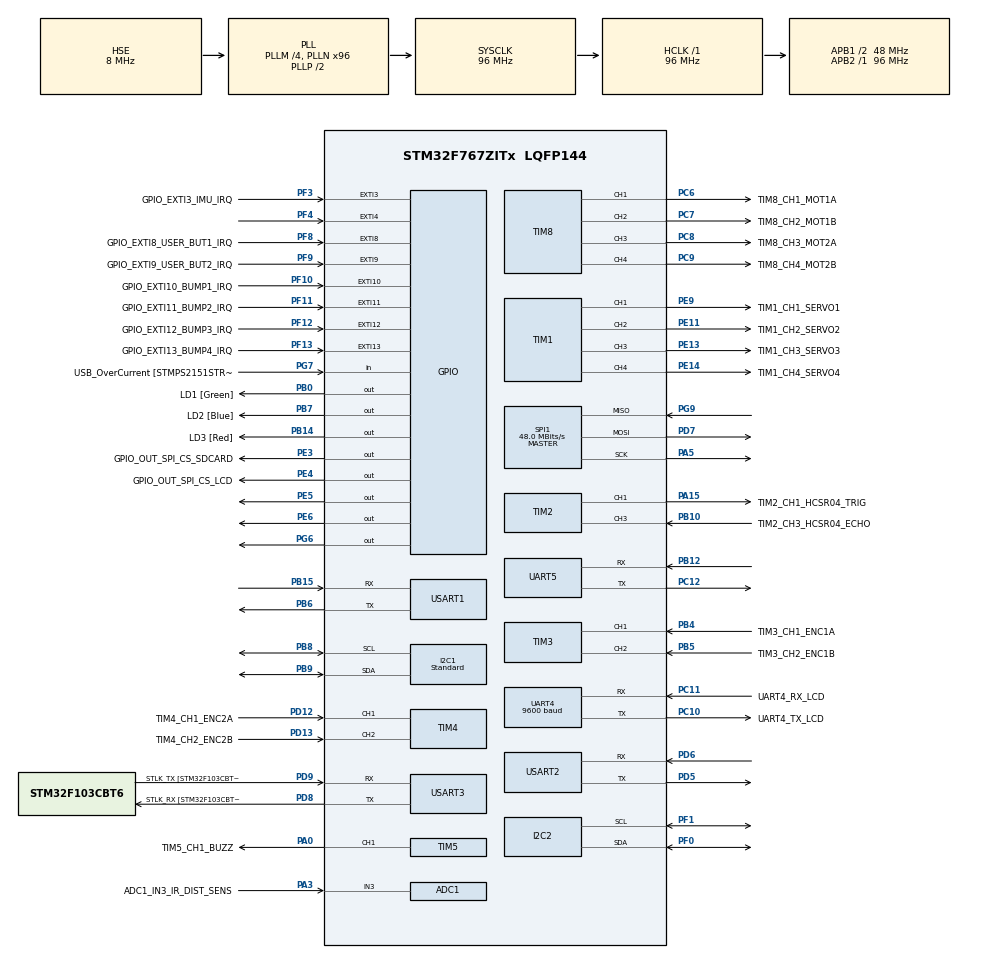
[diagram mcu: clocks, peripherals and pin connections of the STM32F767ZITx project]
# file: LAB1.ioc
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ADC1.Channel-1\#ChannelRegularConversion=ADC_CHANNEL_3
ADC1.NbrOfConversionFlag=1
ADC1.Rank-1\#ChannelRegularConversion=1
ADC1.SamplingTime-1\#ChannelRegularConversion=ADC_SAMPLETIME_3CYCLES
ADC1.master=1
I2C1.I2C_Speed_Mode=I2C_Standard
I2C1.Timing=0x20303E5D
I2C2.Timing=0x20303E5D
Mcu.Family=STM32F7
Mcu.Name=STM32F767ZITx
Mcu.Package=LQFP144
Mcu.UserConstants=TIM1_ARR_VALUE,200;TIM8_ARR_VALUE,400;TIM8_PSC_VALUE,959;TIM1_PSC_VALUE,959;PSC_ex4,17000;Counter_ex4,9
NVIC.EXTI15_10_IRQn=true\:0\:0\:false\:false\:true\:true\:true\:true
NVIC.EXTI4_IRQn=true\:1\:0\:true\:false\:true\:true\:true\:true
NVIC.EXTI9_5_IRQn=true\:0\:0\:false\:false\:true\:true\:true\:true
NVIC.PriorityGroup=NVIC_PRIORITYGROUP_4
NVIC.TIM6_DAC_IRQn=true\:0\:0\:false\:false\:true\:true\:true\:true
NVIC.TIM7_IRQn=true\:0\:0\:false\:false\:true\:true\:true\:true
PA0/WKUP.GPIO_Label=TIM5_CH1_BUZZ
PA0/WKUP.Signal=S_TIM5_CH1
PA1.GPIO_Label=RMII_REF_CLK [LAN8742A-CZ-TR_REFCLK0]
PA1.Signal=ETH_REF_CLK
PA10.GPIO_Label=USB_ID
PA10.Signal=USB_OTG_FS_ID
PA11.GPIO_Label=USB_DM
PA11.Signal=USB_OTG_FS_DM
PA12.GPIO_Label=USB_DP
PA12.Signal=USB_OTG_FS_DP
PA13.GPIO_Label=TMS
PA13.Mode=Serial_Wire
PA13.Signal=SYS_JTMS-SWDIO
PA14.GPIO_Label=TCK
PA14.Mode=Serial_Wire
PA14.Signal=SYS_JTCK-SWCLK
PA15.GPIO_Label=TIM2_CH1_HCSR04_TRIG
PA15.Signal=S_TIM2_CH1_ETR
PA2.GPIO_Label=RMII_MDIO [LAN8742A-CZ-TR_MDIO]
PA2.Signal=ETH_MDIO
PA3.GPIO_Label=ADC1_IN3_IR_DIST_SENS
PA3.Signal=ADCx_IN3
PA5.Mode=Full_Duplex_Master
PA5.Signal=SPI1_SCK
PA7.GPIO_Label=RMII_CRS_DV [LAN8742A-CZ-TR_CRS_DV]
PA7.Signal=ETH_CRS_DV
PA8.GPIO_Label=USB_SOF [TP1]
PA8.Signal=USB_OTG_FS_SOF
PA9.GPIO_Label=USB_VBUS
PA9.Signal=USB_OTG_FS_VBUS
PB0.GPIO_Label=LD1 [Green]
PB0.Signal=GPIO_Output
PB10.GPIO_Label=TIM2_CH3_HCSR04_ECHO
PB10.Signal=S_TIM2_CH3
PB12.Mode=Asynchronous
PB12.Signal=UART5_RX
PB13.GPIO_Label=RMII_TXD1 [LAN8742A-CZ-TR_TXD1]
PB13.Signal=ETH_TXD1
PB14.GPIO_Label=LD3 [Red]
PB14.Signal=GPIO_Output
PB15.Mode=Asynchronous
PB15.Signal=USART1_RX
PB3.GPIO_Label=SWO
PB3.Signal=SYS_JTDO-SWO
PB4.GPIO_Label=TIM3_CH1_ENC1A
PB4.Signal=S_TIM3_CH1
PB5.GPIO_Label=TIM3_CH2_ENC1B
PB5.Signal=S_TIM3_CH2
PB6.Mode=Asynchronous
PB6.Signal=USART1_TX
PB7.GPIO_Label=LD2 [Blue]
PB7.Signal=GPIO_Output
PB8.GPIO_Pu=GPIO_PULLUP
PB8.Mode=I2C
PB8.Signal=I2C1_SCL
PB9.GPIO_Pu=GPIO_PULLUP
PB9.Mode=I2C
PB9.Signal=I2C1_SDA
PC1.GPIO_Label=RMII_MDC [LAN8742A-CZ-TR_MDC]
PC1.Signal=ETH_MDC
PC10.GPIO_Label=UART4_TX_LCD
PC10.Mode=Asynchronous
PC10.Signal=UART4_TX
PC11.GPIO_Label=UART4_RX_LCD
PC11.Mode=Asynchronous
PC11.Signal=UART4_RX
PC12.Mode=Asynchronous
PC12.Signal=UART5_TX
PC14/OSC32_IN.Mode=LSE-External-Oscillator
PC14/OSC32_IN.Signal=RCC_OSC32_IN
PC15/OSC32_OUT.Mode=LSE-External-Oscillator
PC15/OSC32_OUT.Signal=RCC_OSC32_OUT
PC4.GPIO_Label=RMII_RXD0 [LAN8742A-CZ-TR_RXD0]
PC4.Signal=ETH_RXD0
PC5.GPIO_Label=RMII_RXD1 [LAN8742A-CZ-TR_RXD1]
PC5.Signal=ETH_RXD1
PC6.GPIO_Label=TIM8_CH1_MOT1A
PC6.Signal=S_TIM8_CH1
PC7.GPIO_Label=TIM8_CH2_MOT1B
PC7.Signal=S_TIM8_CH2
PC8.GPIO_Label=TIM8_CH3_MOT2A
PC8.Signal=S_TIM8_CH3
PC9.GPIO_Label=TIM8_CH4_MOT2B
PC9.Signal=S_TIM8_CH4
PD12.GPIO_Label=TIM4_CH1_ENC2A
PD12.Signal=S_TIM4_CH1
PD13.GPIO_Label=TIM4_CH2_ENC2B
PD13.Signal=S_TIM4_CH2
PD5.Mode=Asynchronous
PD5.Signal=USART2_TX
PD6.Mode=Asynchronous
PD6.Signal=USART2_RX
PD7.Mode=Full_Duplex_Master
PD7.Signal=SPI1_MOSI
PD8.GPIO_Label=STLK_RX [STM32F103CBT6_PA3]
PD8.Mode=Asynchronous
PD8.Signal=USART3_TX
PD9.GPIO_Label=STLK_TX [STM32F103CBT6_PA2]
PD9.Mode=Asynchronous
PD9.Signal=USART3_RX
PE11.GPIO_Label=TIM1_CH2_SERVO2
PE11.Signal=S_TIM1_CH2
PE13.GPIO_Label=TIM1_CH3_SERVO3
PE13.Signal=S_TIM1_CH3
PE14.GPIO_Label=TIM1_CH4_SERVO4
PE14.Signal=S_TIM1_CH4
PE3.GPIO_Label=GPIO_OUT_SPI_CS_SDCARD
PE3.Signal=GPIO_Output
PE4.GPIO_Label=GPIO_OUT_SPI_CS_LCD
PE4.Signal=GPIO_Output
PE5.Signal=GPIO_Output
PE6.Signal=GPIO_Output
PE9.GPIO_Label=TIM1_CH1_SERVO1
PE9.Signal=S_TIM1_CH1
PF0.GPIO_Pu=GPIO_PULLUP
PF0.Mode=I2C
PF0.Signal=I2C2_SDA
PF1.GPIO_Pu=GPIO_PULLUP
PF1.Mode=I2C
PF1.Signal=I2C2_SCL
PF10.GPIO_Label=GPIO_EXTI10_BUMP1_IRQ
PF10.Signal=GPXTI10
PF11.GPIO_Label=GPIO_EXTI11_BUMP2_IRQ
PF11.Signal=GPXTI11
PF12.GPIO_Label=GPIO_EXTI12_BUMP3_IRQ
PF12.Signal=GPXTI12
PF13.GPIO_Label=GPIO_EXTI13_BUMP4_IRQ
PF13.Signal=GPXTI13
PF3.GPIO_Label=GPIO_EXTI3_IMU_IRQ
PF3.Signal=GPXTI3
PF4.GPIO_ModeDefaultEXTI=GPIO_MODE_IT_FALLING
PF4.GPIO_PuPd=GPIO_NOPULL
PF4.Signal=GPXTI4
PF8.GPIO_Label=GPIO_EXTI8_USER_BUT1_IRQ
PF8.Signal=GPXTI8
PF9.GPIO_Label=GPIO_EXTI9_USER_BUT2_IRQ
PF9.Signal=GPXTI9
PG11.GPIO_Label=RMII_TX_EN [LAN8742A-CZ-TR_TXEN]
PG11.Signal=ETH_TX_EN
PG13.GPIO_Label=RMII_TXD0 [LAN8742A-CZ-TR_TXD0]
PG13.Signal=ETH_TXD0
PG6.Signal=GPIO_Output
PG7.GPIO_Label=USB_OverCurrent [STMPS2151STR_FAULT]
PG7.Signal=GPIO_Input
PG9.Mode=Full_Duplex_Master
PG9.Signal=SPI1_MISO
PH0/OSC_IN.GPIO_Label=MCO [STM32F103CBT6_PA8]
PH0/OSC_IN.Mode=HSE-External-Clock-Source
PH0/OSC_IN.Signal=RCC_OSC_IN
PH1/OSC_OUT.Mode=HSE-External-Clock-Source
PH1/OSC_OUT.Signal=RCC_OSC_OUT
ProjectManager.HeapSize=0x200
ProjectManager.StackSize=0x400
ProjectManager.TargetToolchain=STM32CubeIDE
RCC.48MHZClocksFreq_Value=24000000
RCC.AHBFreq_Value=96000000
RCC.APB1CLKDivider=RCC_HCLK_DIV2
RCC.APB1Freq_Value=48000000
RCC.APB1TimFreq_Value=96000000
RCC.APB2Freq_Value=96000000
RCC.APB2TimFreq_Value=96000000
RCC.CortexFreq_Value=96000000
RCC.HCLKFreq_Value=96000000
RCC.HSE_VALUE=8000000
RCC.HSI_VALUE=16000000
RCC.PLLM=4
RCC.PLLMUL=RCC_PLL_MUL9
RCC.PLLN=96
RCC.PLLQ=4
RCC.PLLSourceVirtual=RCC_PLLSOURCE_HSE
RCC.PRESCALERUSB=RCC_USBCLKSOURCE_PLL_DIV1_5
RCC.SYSCLKFreq_VALUE=96000000
RCC.SYSCLKSource=RCC_SYSCLKSOURCE_PLLCLK
RCC.SYSCLKSourceVirtual=RCC_SYSCLKSOURCE_PLLCLK
RCC.USBFreq_Value=48000000
RCC.VCOOutputFreq_Value=192000000
SH.ADCx_IN3.0=ADC1_IN3,IN3
SH.S_TIM1_CH1.0=TIM1_CH1,PWM Generation1 CH1
SH.S_TIM1_CH2.0=TIM1_CH2,PWM Generation2 CH2
SH.S_TIM1_CH3.0=TIM1_CH3,PWM Generation3 CH3
SH.S_TIM1_CH4.0=TIM1_CH4,PWM Generation4 CH4
SH.S_TIM2_CH1_ETR.0=TIM2_CH1,PWM Generation1 CH1
SH.S_TIM2_CH3.0=TIM2_CH3,Input_Capture3_from_TI3
SH.S_TIM3_CH1.0=TIM3_CH1,Encoder_Interface
SH.S_TIM3_CH2.0=TIM3_CH2,Encoder_Interface
SH.S_TIM4_CH1.0=TIM4_CH1,Encoder_Interface
SH.S_TIM4_CH2.0=TIM4_CH2,Encoder_Interface
SH.S_TIM5_CH1.0=TIM5_CH1,PWM Generation1 CH1
SH.S_TIM8_CH1.0=TIM8_CH1,PWM Generation1 CH1
SH.S_TIM8_CH2.0=TIM8_CH2,PWM Generation2 CH2
SH.S_TIM8_CH3.0=TIM8_CH3,PWM Generation3 CH3
SH.S_TIM8_CH4.0=TIM8_CH4,PWM Generation4 CH4
SPI1.CalculateBaudRate=48.0 MBits/s
SPI1.Direction=SPI_DIRECTION_2LINES
SPI1.Mode=SPI_MODE_MASTER
SPI1.VirtualType=VM_MASTER
TIM1.Channel-PWM\ Generation1\ CH1=TIM_CHANNEL_1
TIM1.Channel-PWM\ Generation2\ CH2=TIM_CHANNEL_2
TIM1.Channel-PWM\ Generation3\ CH3=TIM_CHANNEL_3
TIM1.Channel-PWM\ Generation4\ CH4=TIM_CHANNEL_4
TIM1.Period=TIM1_ARR_VALUE
TIM1.Prescaler=TIM1_PSC_VALUE
TIM2.Channel-Input_Capture3_from_TI3=TIM_CHANNEL_3
TIM2.Channel-PWM\ Generation1\ CH1=TIM_CHANNEL_1
TIM5.Channel-PWM\ Generation1\ CH1=TIM_CHANNEL_1
TIM6.AutoReloadPreload=TIM_AUTORELOAD_PRELOAD_ENABLE
TIM6.Period=999
TIM6.Prescaler=16999
TIM7.AutoReloadPreload=TIM_AUTORELOAD_PRELOAD_ENABLE
TIM7.Period=Counter_ex4
TIM7.Prescaler=PSC_ex4-1
TIM8.Channel-PWM\ Generation1\ CH1=TIM_CHANNEL_1
TIM8.Channel-PWM\ Generation2\ CH2=TIM_CHANNEL_2
TIM8.Channel-PWM\ Generation3\ CH3=TIM_CHANNEL_3
TIM8.Channel-PWM\ Generation4\ CH4=TIM_CHANNEL_4
TIM8.Period=TIM8_ARR_VALUE
TIM8.Prescaler=TIM8_PSC_VALUE
UART4.BaudRate=9600
USART1.VirtualMode-Asynchronous=VM_ASYNC
USART2.VirtualMode-Asynchronous=VM_ASYNC
USART3.VirtualMode-Asynchronous=VM_ASYNC
VP_TIM1_VS_ClockSourceINT.Mode=Internal
VP_TIM2_VS_ClockSourceINT.Mode=Internal
VP_TIM5_VS_ClockSourceINT.Mode=Internal
VP_TIM6_VS_ClockSourceINT.Mode=Enable_Timer
VP_TIM7_VS_ClockSourceINT.Mode=Enable_Timer
VP_TIM8_VS_ClockSourceINT.Mode=Internal
board=NUCLEO-F767ZI

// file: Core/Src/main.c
/* USER CODE BEGIN Header */
/**
 ******************************************************************************
 * @file           : main.c
 * @brief          : Main program body
 ******************************************************************************
 * @attention
 *
 * <h2><center>&copy; Copyright (c) 2021 STMicroelectronics.
 * All rights reserved.</center></h2>
 *
 * This software component is licensed by ST under BSD 3-Clause license,
 * the "License"; You may not use this file except in compliance with the
 * License. You may obtain a copy of the License at:
 *                        opensource.org/licenses/BSD-3-Clause
 *
 ******************************************************************************
 */
/* USER CODE END Header */
#include "main.h"

/* USER CODE BEGIN Includes */
#include <stdio.h>
#include <string.h>
#include "SX1509_Registers.h"
#include <math.h>

/* USER CODE END Includes */

/* USER CODE BEGIN PD */
#define HAL_TIMEOUT 100

#define I2C_TIMEOUT 200

#define SX1509_I2C_ADDR1 0x3E //	SX1509 Proxy Sensors I2C address
#define SX1509_I2C_ADDR2 0x3F //	SX1509 Keypad I2C address
/* USER CODE END PD */

ADC_HandleTypeDef hadc1;

I2C_HandleTypeDef hi2c1;
I2C_HandleTypeDef hi2c2;

SPI_HandleTypeDef hspi1;

TIM_HandleTypeDef htim1;
TIM_HandleTypeDef htim2;
TIM_HandleTypeDef htim3;
TIM_HandleTypeDef htim4;
TIM_HandleTypeDef htim5;
TIM_HandleTypeDef htim6;
TIM_HandleTypeDef htim7;
TIM_HandleTypeDef htim8;

UART_HandleTypeDef huart4;
UART_HandleTypeDef huart5;
UART_HandleTypeDef huart1;
UART_HandleTypeDef huart2;
UART_HandleTypeDef huart3;

/* USER CODE BEGIN PV */
const char keypadLayout[4][4] = {
    {'*', '0', '#', 'D'},
    {'7', '8', '9', 'C'},
    {'4', '5', '6', 'B'},
    {'1', '2', '3', 'A'}};
/* USER CODE END PV */

void SystemClock_Config(void);
static void MX_GPIO_Init(void);
static void MX_USART3_UART_Init(void);
static void MX_ADC1_Init(void);
static void MX_I2C1_Init(void);
static void MX_I2C2_Init(void);
static void MX_SPI1_Init(void);
static void MX_TIM1_Init(void);
static void MX_TIM2_Init(void);
static void MX_TIM3_Init(void);
static void MX_TIM4_Init(void);
static void MX_TIM5_Init(void);
static void MX_TIM8_Init(void);
static void MX_UART4_Init(void);
static void MX_UART5_Init(void);
static void MX_USART1_UART_Init(void);
static void MX_USART2_UART_Init(void);
static void MX_TIM6_Init(void);
static void MX_TIM7_Init(void);
/* USER CODE BEGIN PFP */
extern void initialise_monitor_handles(void);
/* USER CODE END PFP */

/* USER CODE BEGIN 0 */

uint8_t line_sensor;
void HAL_TIM_PeriodElapsedCallback(TIM_HandleTypeDef *htim)
{
	if(htim->Instance == TIM6)
	{
		HAL_StatusTypeDef status1;
		status1 = HAL_I2C_Mem_Read(&hi2c1, SX1509_I2C_ADDR1 << 1, REG_DATA_B, 1, &line_sensor, 1, I2C_TIMEOUT);
		if (status1 != 0 ){
			printf("I2C communication error (%X).\n", status1);}
		//commented to acquire data keypad (to work with both change interupt's priority)
		/*printf("line_sensor_read: ");
		for (int i=0; i<8 ; i++){
			if (line_sensor & 1)
				//printf("1");
			else
				//printf("0");
			line_sensor >>=1;
		}
		//printf("\n");

		 */
	}

	if(htim->Instance == TIM7)//when timer 7 call the interrupt
		{
			HAL_GPIO_TogglePin(GPIOE, GPIO_PIN_5);//toggle the led
		}
}

char keyinput[5];
int i=0;
uint8_t regCol, regRow;

unsigned int f_led=1; //frequency of the led actually running
unsigned int f_user=1;//frequency set by the user (keypad input)
uint16_t Counter_led;//counter value of the timer 7 "collegato" led
unsigned int f_clock=96e6;// frequency of the micro-controller

int f_led_min=1;//frequency min of the led
int f_led_max=1000;//frequency max of the led

//function from char vector to int var
int ve_char2var_int(char vector[])
{
	int variable=0; //output

    sscanf(vector, "%d", &variable);

	return variable;
}

//function timer modification -------------------------------------------
void f_timer7_edit()
{
	if(f_led!=f_user)//check if f_led is changed (ponder to swap position)
	{
		if(f_user>f_led_max) //if i would set a freq grater the f max i will set the f max
		{
			f_user=f_led_max;
		}

		if(f_user<f_led_min) //if i would set a freq grater the f min i will set the f min
		{
			f_user=f_led_min;
		}

		Counter_led = (int) ((((double)f_clock/PSC_ex4)/f_user)-1);

		__HAL_TIM_SET_AUTORELOAD(&htim7,Counter_led);//set new counter

		double actual_freq = ((double) f_clock)/((PSC_ex4)*(Counter_led+1));  //Metric for evaluation of the goodness (problem: it don't evaluate it)
																			  //of the code.
		printf("Desired blinking freq: %d\n", f_user);
		printf("Actual  blinking freq: %g\n", actual_freq);

		f_led=f_user;// set current f to desired f
	}
}

void HAL_GPIO_EXTI_Callback(uint16_t GPIO_Pin)
{
  printf("Interrupt on pin (%d).\n", GPIO_Pin);

  /* your code here */
  if (GPIO_Pin==16){
	 HAL_StatusTypeDef status1, status2;
	 status1 = HAL_I2C_Mem_Read(&hi2c1, SX1509_I2C_ADDR2 << 1, REG_KEY_DATA_1, 1, &regCol, 1, I2C_TIMEOUT);
	 status2 = HAL_I2C_Mem_Read(&hi2c1, SX1509_I2C_ADDR2 << 1, REG_KEY_DATA_2, 1, &regRow, 1, I2C_TIMEOUT);
	 //printf("I2C communication error (%X).\n", status2);
	 //printf("I2C communication error (%X).\n", status1);

	 switch (regRow){
		 case 254:
			 regRow=0;
			 break;
		 case 253:
			 regRow=1;
			 break;
		 case 251:
			 regRow=2;
			 break;
		 case 247:
			 regRow=3;
			 break;
		 default:
			 printf("error row \n");
			 break;
	 }

	 switch (regCol){
		 case 254:
			 regCol=0;
			 break;
		 case 253:
			 regCol=1;
			 break;
		 case 251:
			 regCol=2;
			 break;
		 case 247:
			 regCol=3;
			 break;
		 default:
			 printf("error column \n");
			 break;
	 }

	 printf("Row: %d \n", regRow);
	 printf("Column: %d \n", regCol);
	 printf("Keypad button: %c \n", keypadLayout[regRow][regCol]);

	 if(keypadLayout[regRow][regCol]!='#')//check if press # and if not mem the value
	 {
		 keyinput[i]= keypadLayout[regRow][regCol];
		 i=(i+1)%4; //Index update and check whether Index exceeds the bounds (i.e. i>=4);
	 }else
	 {
		 if (i!=0)
			 keyinput[i]='\0';
		 else
			 keyinput[4]='\0';
		 i=0;
		 f_user = ve_char2var_int(keyinput);
		 f_timer7_edit();
	 }

  }
}

/* USER CODE END 0 */

int main(void)
{

  /* USER CODE BEGIN 1 */
  uint8_t data;
  HAL_StatusTypeDef status;
  /* USER CODE END 1 */

  /* MCU Configuration--------------------------------------------------------*/

  /* Reset of all peripherals, Initializes the Flash interface and the Systick. */
  HAL_Init();

  /* Configure the system clock */
  SystemClock_Config();

  /* USER CODE BEGIN SysInit */
  initialise_monitor_handles();
  /* USER CODE END SysInit */

  /* Initialize all configured peripherals */
  MX_GPIO_Init();
  MX_USART3_UART_Init();
  MX_ADC1_Init();
  MX_I2C1_Init();
  MX_I2C2_Init();
  MX_SPI1_Init();
  MX_TIM1_Init();
  MX_TIM2_Init();
  MX_TIM3_Init();
  MX_TIM4_Init();
  MX_TIM5_Init();
  MX_TIM8_Init();
  MX_UART4_Init();
  MX_UART5_Init();
  MX_USART1_UART_Init();
  MX_USART2_UART_Init();
  MX_TIM6_Init();
  MX_TIM7_Init();
  /* USER CODE BEGIN 2 */

  /* Disable LCD SPI SS */
  HAL_GPIO_WritePin(GPIO_OUT_SPI_CS_LCD_GPIO_Port, GPIO_OUT_SPI_CS_LCD_Pin, GPIO_PIN_SET);

  /* Disable EXTI4_IRQ during SX1509 initialization */
  HAL_NVIC_DisableIRQ(EXTI4_IRQn);

  /* Software reset */
  data = 0x12;
  status = HAL_I2C_Mem_Write(&hi2c1, SX1509_I2C_ADDR2 << 1, REG_RESET, 1, &data, 1, I2C_TIMEOUT);
  if (status != HAL_OK)
    printf("I2C communication error (%X).\n", status);

  data = 0x34;
  status = HAL_I2C_Mem_Write(&hi2c1, SX1509_I2C_ADDR2 << 1, REG_RESET, 1, &data, 1, I2C_TIMEOUT);
  if (status != HAL_OK)
    printf("I2C communication error (%X).\n", status);

  HAL_Delay(100);

  /* Set KeyPad scanning engine */

  /* Set RegClock to 0x40 (enable internal oscillator; 2MHz freq) */
  data = 0x40;
  status = HAL_I2C_Mem_Write(&hi2c1, SX1509_I2C_ADDR2 << 1, REG_CLOCK, 1, &data, 1, I2C_TIMEOUT);
  if (status != HAL_OK)
    printf("I2C communication error (%X).\n", status);

  /* Set Bank A RegDir to 0xF0 (IO[0:3] as out) */
  data = 0xF0;
  status = HAL_I2C_Mem_Write(&hi2c1, SX1509_I2C_ADDR2 << 1, REG_DIR_A, 1, &data, 1, I2C_TIMEOUT);
  if (status != HAL_OK)
    printf("I2C communication error (%X).\n", status);

  /* Set Bank B RegDir to 0x0F (IO[8:11] as in) */
  data = 0x0F;
  status = HAL_I2C_Mem_Write(&hi2c1, SX1509_I2C_ADDR2 << 1, REG_DIR_B, 1, &data, 1, I2C_TIMEOUT);
  if (status != HAL_OK)
    printf("I2C communication error (%X).\n", status);

  /* Set Bank A RegOpenDrain to 0x0F (IO[0:3] as open-drain outputs) */
  data = 0x0F;
  status = HAL_I2C_Mem_Write(&hi2c1, SX1509_I2C_ADDR2 << 1, REG_OPEN_DRAIN_A, 1, &data, 1, I2C_TIMEOUT);
  if (status != HAL_OK)
    printf("I2C communication error (%X).\n", status);

  /* Set Bank B RegPullup to 0x0F (pull-ups enabled on inputs IO[8:11]) */
  data = 0x0F;
  status = HAL_I2C_Mem_Write(&hi2c1, SX1509_I2C_ADDR2 << 1, REG_PULL_UP_B, 1, &data, 1, I2C_TIMEOUT);
  if (status != HAL_OK)
    printf("I2C communication error (%X).\n", status);

  /* Set Bank B RegDebounceEnable to 0x0F (enable debouncing on IO[8:11]) */
  data = 0x0F;
  status = HAL_I2C_Mem_Write(&hi2c1, SX1509_I2C_ADDR2 << 1, REG_DEBOUNCE_ENABLE_B, 1, &data, 1, I2C_TIMEOUT);
  if (status != HAL_OK)
    printf("I2C communication error (%X).\n", status);

  /* Set RegDebounceConfig to 0x05 (16ms debounce time) */
  data = 0x05;
  status = HAL_I2C_Mem_Write(&hi2c1, SX1509_I2C_ADDR2 << 1, REG_DEBOUNCE_CONFIG, 1, &data, 1, I2C_TIMEOUT);
  if (status != HAL_OK)
    printf("I2C communication error (%X).\n", status);

  /* Set RegKeyConfig1 to 0x7D (8s auto-sleep; 32ms scan time per row) */
  data = 0x7D;
  status = HAL_I2C_Mem_Write(&hi2c1, SX1509_I2C_ADDR2 << 1, REG_KEY_CONFIG_1, 1, &data, 1, I2C_TIMEOUT);
  if (status != HAL_OK)
    printf("I2C communication error (%X).\n", status);

  /* Set RegKeyConfig2 to 0x1B (4 rows; 4 columns) */
  data = 0x1B;
  status = HAL_I2C_Mem_Write(&hi2c1, SX1509_I2C_ADDR2 << 1, REG_KEY_CONFIG_2, 1, &data, 1, I2C_TIMEOUT);
  if (status != HAL_OK)
    printf("I2C communication error (%X).\n", status);

  /* Enable EXTI4_IRQ after SX1509 initialization */
  HAL_Delay(100);
  HAL_NVIC_EnableIRQ(EXTI4_IRQn);

  /* Disable EXTI2_IRQ during SX1509 initialization */
  HAL_NVIC_DisableIRQ(EXTI2_IRQn);

  /* Software reset */
  data = 0x12;
  status = HAL_I2C_Mem_Write(&hi2c1, SX1509_I2C_ADDR1 << 1, REG_RESET, 1, &data, 1, I2C_TIMEOUT);
  if (status != HAL_OK)
    printf("I2C communication error (%X).\n", status);

  data = 0x34;
  status = HAL_I2C_Mem_Write(&hi2c1, SX1509_I2C_ADDR1 << 1, REG_RESET, 1, &data, 1, I2C_TIMEOUT);
  if (status != HAL_OK)
    printf("I2C communication error (%X).\n", status);

  HAL_Delay(100);

  /* Set RegDirA to 0xFF (all IO of Bank A configured as inputs) */
  data = 0xFF; // 0 = out; 1 = in
  status = HAL_I2C_Mem_Write(&hi2c1, SX1509_I2C_ADDR1 << 1, REG_DIR_A, 1, &data, 1, I2C_TIMEOUT);
  if (status != HAL_OK)
    printf("I2C communication error (%X).\n", status);

  /* Set RegDirB to 0xFF (all IO of Bank B configured as inputs) */
  data = 0xFF; // 0 = out; 1 = in
  status = HAL_I2C_Mem_Write(&hi2c1, SX1509_I2C_ADDR1 << 1, REG_DIR_B, 1, &data, 1, I2C_TIMEOUT);
  if (status != HAL_OK)
    printf("I2C communication error (%X).\n", status);

  /* Set RegInterruptMaskA to 0x00 (all IO of Bank A will trigger an interrupt) */
  data = 0x00;
  status = HAL_I2C_Mem_Write(&hi2c1, SX1509_I2C_ADDR1 << 1, REG_INTERRUPT_MASK_A, 1, &data, 1, I2C_TIMEOUT);
  if (status != HAL_OK)
    printf("I2C communication error (%X).\n", status);

  /* Set RegSenseHighA to 0xAA (IO[7:4] of Bank A will trigger an interrupt on falling edge) */
  data = 0xAA;
  status = HAL_I2C_Mem_Write(&hi2c1, SX1509_I2C_ADDR1 << 1, REG_SENSE_HIGH_A, 1, &data, 1, I2C_TIMEOUT);
  if (status != HAL_OK)
    printf("I2C communication error (%X).\n", status);

  /* Set RegSenseLowA to 0xAA (IO[3:0] of Bank A will trigger an interrupt on falling edge) */
  data = 0xAA;
  status = HAL_I2C_Mem_Write(&hi2c1, SX1509_I2C_ADDR1 << 1, REG_SENSE_LOW_A, 1, &data, 1, I2C_TIMEOUT);
  if (status != HAL_OK)
    printf("I2C communication error (%X).\n", status);

  /* Enable EXTI2_IRQ after SX1509 initialization */
  HAL_Delay(100);
  HAL_NVIC_EnableIRQ(EXTI2_IRQn);

  //start timers ----------------------------------------------------------------------------------------
  HAL_TIM_Base_Start_IT(&htim7);
  HAL_TIM_Base_Start_IT(&htim6);

  printf("Ready\n");

  /* USER CODE END 2 */

  /* Infinite loop */
  while (1)
  {

  }
}

void SystemClock_Config(void)
{
  RCC_OscInitTypeDef RCC_OscInitStruct = {0};
  RCC_ClkInitTypeDef RCC_ClkInitStruct = {0};

  /** Configure LSE Drive Capability
  */
  HAL_PWR_EnableBkUpAccess();

  /** Configure the main internal regulator output voltage
  */
  __HAL_RCC_PWR_CLK_ENABLE();
  __HAL_PWR_VOLTAGESCALING_CONFIG(PWR_REGULATOR_VOLTAGE_SCALE3);

  /** Initializes the RCC Oscillators according to the specified parameters
  * in the RCC_OscInitTypeDef structure.
  */
  RCC_OscInitStruct.OscillatorType = RCC_OSCILLATORTYPE_HSE;
  RCC_OscInitStruct.HSEState = RCC_HSE_BYPASS;
  RCC_OscInitStruct.PLL.PLLState = RCC_PLL_ON;
  RCC_OscInitStruct.PLL.PLLSource = RCC_PLLSOURCE_HSE;
  RCC_OscInitStruct.PLL.PLLM = 4;
  RCC_OscInitStruct.PLL.PLLN = 96;
  RCC_OscInitStruct.PLL.PLLP = RCC_PLLP_DIV2;
  RCC_OscInitStruct.PLL.PLLQ = 4;
  RCC_OscInitStruct.PLL.PLLR = 2;
  if (HAL_RCC_OscConfig(&RCC_OscInitStruct) != HAL_OK)
  {
    Error_Handler();
  }

  /** Activate the Over-Drive mode
  */
  if (HAL_PWREx_EnableOverDrive() != HAL_OK)
  {
    Error_Handler();
  }

  /** Initializes the CPU, AHB and APB buses clocks
  */
  RCC_ClkInitStruct.ClockType = RCC_CLOCKTYPE_HCLK|RCC_CLOCKTYPE_SYSCLK
                              |RCC_CLOCKTYPE_PCLK1|RCC_CLOCKTYPE_PCLK2;
  RCC_ClkInitStruct.SYSCLKSource = RCC_SYSCLKSOURCE_PLLCLK;
  RCC_ClkInitStruct.AHBCLKDivider = RCC_SYSCLK_DIV1;
  RCC_ClkInitStruct.APB1CLKDivider = RCC_HCLK_DIV2;
  RCC_ClkInitStruct.APB2CLKDivider = RCC_HCLK_DIV1;

  if (HAL_RCC_ClockConfig(&RCC_ClkInitStruct, FLASH_LATENCY_3) != HAL_OK)
  {
    Error_Handler();
  }
}

static void MX_ADC1_Init(void)
{

  ADC_ChannelConfTypeDef sConfig = {0};

  /** Configure the global features of the ADC (Clock, Resolution, Data Alignment and number of conversion)
  */
  hadc1.Instance = ADC1;
  hadc1.Init.ClockPrescaler = ADC_CLOCK_SYNC_PCLK_DIV4;
  hadc1.Init.Resolution = ADC_RESOLUTION_12B;
  hadc1.Init.ScanConvMode = ADC_SCAN_DISABLE;
  hadc1.Init.ContinuousConvMode = DISABLE;
  hadc1.Init.DiscontinuousConvMode = DISABLE;
  hadc1.Init.ExternalTrigConvEdge = ADC_EXTERNALTRIGCONVEDGE_NONE;
  hadc1.Init.ExternalTrigConv = ADC_SOFTWARE_START;
  hadc1.Init.DataAlign = ADC_DATAALIGN_RIGHT;
  hadc1.Init.NbrOfConversion = 1;
  hadc1.Init.DMAContinuousRequests = DISABLE;
  hadc1.Init.EOCSelection = ADC_EOC_SINGLE_CONV;
  if (HAL_ADC_Init(&hadc1) != HAL_OK)
  {
    Error_Handler();
  }

  /** Configure for the selected ADC regular channel its corresponding rank in the sequencer and its sample time.
  */
  sConfig.Channel = ADC_CHANNEL_3;
  sConfig.Rank = ADC_REGULAR_RANK_1;
  sConfig.SamplingTime = ADC_SAMPLETIME_3CYCLES;
  if (HAL_ADC_ConfigChannel(&hadc1, &sConfig) != HAL_OK)
  {
    Error_Handler();
  }

}

static void MX_I2C1_Init(void)
{

  hi2c1.Instance = I2C1;
  hi2c1.Init.Timing = 0x20303E5D;
  hi2c1.Init.OwnAddress1 = 0;
  hi2c1.Init.AddressingMode = I2C_ADDRESSINGMODE_7BIT;
  hi2c1.Init.DualAddressMode = I2C_DUALADDRESS_DISABLE;
  hi2c1.Init.OwnAddress2 = 0;
  hi2c1.Init.OwnAddress2Masks = I2C_OA2_NOMASK;
  hi2c1.Init.GeneralCallMode = I2C_GENERALCALL_DISABLE;
  hi2c1.Init.NoStretchMode = I2C_NOSTRETCH_DISABLE;
  if (HAL_I2C_Init(&hi2c1) != HAL_OK)
  {
    Error_Handler();
  }

  /** Configure Analogue filter
  */
  if (HAL_I2CEx_ConfigAnalogFilter(&hi2c1, I2C_ANALOGFILTER_ENABLE) != HAL_OK)
  {
    Error_Handler();
  }

  /** Configure Digital filter
  */
  if (HAL_I2CEx_ConfigDigitalFilter(&hi2c1, 0) != HAL_OK)
  {
    Error_Handler();
  }

}

static void MX_I2C2_Init(void)
{

  hi2c2.Instance = I2C2;
  hi2c2.Init.Timing = 0x20303E5D;
  hi2c2.Init.OwnAddress1 = 0;
  hi2c2.Init.AddressingMode = I2C_ADDRESSINGMODE_7BIT;
  hi2c2.Init.DualAddressMode = I2C_DUALADDRESS_DISABLE;
  hi2c2.Init.OwnAddress2 = 0;
  hi2c2.Init.OwnAddress2Masks = I2C_OA2_NOMASK;
  hi2c2.Init.GeneralCallMode = I2C_GENERALCALL_DISABLE;
  hi2c2.Init.NoStretchMode = I2C_NOSTRETCH_DISABLE;
  if (HAL_I2C_Init(&hi2c2) != HAL_OK)
  {
    Error_Handler();
  }

  /** Configure Analogue filter
  */
  if (HAL_I2CEx_ConfigAnalogFilter(&hi2c2, I2C_ANALOGFILTER_ENABLE) != HAL_OK)
  {
    Error_Handler();
  }

  /** Configure Digital filter
  */
  if (HAL_I2CEx_ConfigDigitalFilter(&hi2c2, 0) != HAL_OK)
  {
    Error_Handler();
  }

}

static void MX_SPI1_Init(void)
{

  /* SPI1 parameter configuration*/
  hspi1.Instance = SPI1;
  hspi1.Init.Mode = SPI_MODE_MASTER;
  hspi1.Init.Direction = SPI_DIRECTION_2LINES;
  hspi1.Init.DataSize = SPI_DATASIZE_4BIT;
  hspi1.Init.CLKPolarity = SPI_POLARITY_LOW;
  hspi1.Init.CLKPhase = SPI_PHASE_1EDGE;
  hspi1.Init.NSS = SPI_NSS_SOFT;
  hspi1.Init.BaudRatePrescaler = SPI_BAUDRATEPRESCALER_2;
  hspi1.Init.FirstBit = SPI_FIRSTBIT_MSB;
  hspi1.Init.TIMode = SPI_TIMODE_DISABLE;
  hspi1.Init.CRCCalculation = SPI_CRCCALCULATION_DISABLE;
  hspi1.Init.CRCPolynomial = 7;
  hspi1.Init.CRCLength = SPI_CRC_LENGTH_DATASIZE;
  hspi1.Init.NSSPMode = SPI_NSS_PULSE_ENABLE;
  if (HAL_SPI_Init(&hspi1) != HAL_OK)
  {
    Error_Handler();
  }

}

static void MX_TIM1_Init(void)
{

  TIM_ClockConfigTypeDef sClockSourceConfig = {0};
  TIM_MasterConfigTypeDef sMasterConfig = {0};
  TIM_OC_InitTypeDef sConfigOC = {0};
  TIM_BreakDeadTimeConfigTypeDef sBreakDeadTimeConfig = {0};

  htim1.Instance = TIM1;
  htim1.Init.Prescaler = TIM1_PSC_VALUE;
  htim1.Init.CounterMode = TIM_COUNTERMODE_UP;
  htim1.Init.Period = TIM1_ARR_VALUE;
  htim1.Init.ClockDivision = TIM_CLOCKDIVISION_DIV1;
  htim1.Init.RepetitionCounter = 0;
  htim1.Init.AutoReloadPreload = TIM_AUTORELOAD_PRELOAD_DISABLE;
  if (HAL_TIM_Base_Init(&htim1) != HAL_OK)
  {
    Error_Handler();
  }
  sClockSourceConfig.ClockSource = TIM_CLOCKSOURCE_INTERNAL;
  if (HAL_TIM_ConfigClockSource(&htim1, &sClockSourceConfig) != HAL_OK)
  {
    Error_Handler();
  }
  if (HAL_TIM_PWM_Init(&htim1) != HAL_OK)
  {
    Error_Handler();
  }
  sMasterConfig.MasterOutputTrigger = TIM_TRGO_RESET;
  sMasterConfig.MasterOutputTrigger2 = TIM_TRGO2_RESET;
  sMasterConfig.MasterSlaveMode = TIM_MASTERSLAVEMODE_DISABLE;
  if (HAL_TIMEx_MasterConfigSynchronization(&htim1, &sMasterConfig) != HAL_OK)
  {
    Error_Handler();
  }
  sConfigOC.OCMode = TIM_OCMODE_PWM1;
  sConfigOC.Pulse = 0;
  sConfigOC.OCPolarity = TIM_OCPOLARITY_HIGH;
  sConfigOC.OCNPolarity = TIM_OCNPOLARITY_HIGH;
  sConfigOC.OCFastMode = TIM_OCFAST_DISABLE;
  sConfigOC.OCIdleState = TIM_OCIDLESTATE_RESET;
  sConfigOC.OCNIdleState = TIM_OCNIDLESTATE_RESET;
  if (HAL_TIM_PWM_ConfigChannel(&htim1, &sConfigOC, TIM_CHANNEL_1) != HAL_OK)
  {
    Error_Handler();
  }
  if (HAL_TIM_PWM_ConfigChannel(&htim1, &sConfigOC, TIM_CHANNEL_2) != HAL_OK)
  {
    Error_Handler();
  }
  if (HAL_TIM_PWM_ConfigChannel(&htim1, &sConfigOC, TIM_CHANNEL_3) != HAL_OK)
  {
    Error_Handler();
  }
  if (HAL_TIM_PWM_ConfigChannel(&htim1, &sConfigOC, TIM_CHANNEL_4) != HAL_OK)
  {
    Error_Handler();
  }
  sBreakDeadTimeConfig.OffStateRunMode = TIM_OSSR_DISABLE;
  sBreakDeadTimeConfig.OffStateIDLEMode = TIM_OSSI_DISABLE;
  sBreakDeadTimeConfig.LockLevel = TIM_LOCKLEVEL_OFF;
  sBreakDeadTimeConfig.DeadTime = 0;
  sBreakDeadTimeConfig.BreakState = TIM_BREAK_DISABLE;
  sBreakDeadTimeConfig.BreakPolarity = TIM_BREAKPOLARITY_HIGH;
  sBreakDeadTimeConfig.BreakFilter = 0;
  sBreakDeadTimeConfig.Break2State = TIM_BREAK2_DISABLE;
  sBreakDeadTimeConfig.Break2Polarity = TIM_BREAK2POLARITY_HIGH;
  sBreakDeadTimeConfig.Break2Filter = 0;
  sBreakDeadTimeConfig.AutomaticOutput = TIM_AUTOMATICOUTPUT_DISABLE;
  if (HAL_TIMEx_ConfigBreakDeadTime(&htim1, &sBreakDeadTimeConfig) != HAL_OK)
  {
    Error_Handler();
  }
  HAL_TIM_MspPostInit(&htim1);

}

static void MX_TIM2_Init(void)
{

  TIM_ClockConfigTypeDef sClockSourceConfig = {0};
  TIM_MasterConfigTypeDef sMasterConfig = {0};
  TIM_OC_InitTypeDef sConfigOC = {0};
  TIM_IC_InitTypeDef sConfigIC = {0};

  htim2.Instance = TIM2;
  htim2.Init.Prescaler = 0;
  htim2.Init.CounterMode = TIM_COUNTERMODE_UP;
  htim2.Init.Period = 4294967295;
  htim2.Init.ClockDivision = TIM_CLOCKDIVISION_DIV1;
  htim2.Init.AutoReloadPreload = TIM_AUTORELOAD_PRELOAD_DISABLE;
  if (HAL_TIM_Base_Init(&htim2) != HAL_OK)
  {
    Error_Handler();
  }
  sClockSourceConfig.ClockSource = TIM_CLOCKSOURCE_INTERNAL;
  if (HAL_TIM_ConfigClockSource(&htim2, &sClockSourceConfig) != HAL_OK)
  {
    Error_Handler();
  }
  if (HAL_TIM_PWM_Init(&htim2) != HAL_OK)
  {
    Error_Handler();
  }
  if (HAL_TIM_IC_Init(&htim2) != HAL_OK)
  {
    Error_Handler();
  }
  sMasterConfig.MasterOutputTrigger = TIM_TRGO_RESET;
  sMasterConfig.MasterSlaveMode = TIM_MASTERSLAVEMODE_DISABLE;
  if (HAL_TIMEx_MasterConfigSynchronization(&htim2, &sMasterConfig) != HAL_OK)
  {
    Error_Handler();
  }
  sConfigOC.OCMode = TIM_OCMODE_PWM1;
  sConfigOC.Pulse = 0;
  sConfigOC.OCPolarity = TIM_OCPOLARITY_HIGH;
  sConfigOC.OCFastMode = TIM_OCFAST_DISABLE;
  if (HAL_TIM_PWM_ConfigChannel(&htim2, &sConfigOC, TIM_CHANNEL_1) != HAL_OK)
  {
    Error_Handler();
  }
  sConfigIC.ICPolarity = TIM_INPUTCHANNELPOLARITY_RISING;
  sConfigIC.ICSelection = TIM_ICSELECTION_DIRECTTI;
  sConfigIC.ICPrescaler = TIM_ICPSC_DIV1;
  sConfigIC.ICFilter = 0;
  if (HAL_TIM_IC_ConfigChannel(&htim2, &sConfigIC, TIM_CHANNEL_3) != HAL_OK)
  {
    Error_Handler();
  }
  HAL_TIM_MspPostInit(&htim2);

}

static void MX_TIM3_Init(void)
{

  TIM_Encoder_InitTypeDef sConfig = {0};
  TIM_MasterConfigTypeDef sMasterConfig = {0};

  htim3.Instance = TIM3;
  htim3.Init.Prescaler = 0;
  htim3.Init.CounterMode = TIM_COUNTERMODE_UP;
  htim3.Init.Period = 65535;
  htim3.Init.ClockDivision = TIM_CLOCKDIVISION_DIV1;
  htim3.Init.AutoReloadPreload = TIM_AUTORELOAD_PRELOAD_DISABLE;
  sConfig.EncoderMode = TIM_ENCODERMODE_TI1;
  sConfig.IC1Polarity = TIM_ICPOLARITY_RISING;
  sConfig.IC1Selection = TIM_ICSELECTION_DIRECTTI;
  sConfig.IC1Prescaler = TIM_ICPSC_DIV1;
  sConfig.IC1Filter = 0;
  sConfig.IC2Polarity = TIM_ICPOLARITY_RISING;
  sConfig.IC2Selection = TIM_ICSELECTION_DIRECTTI;
  sConfig.IC2Prescaler = TIM_ICPSC_DIV1;
  sConfig.IC2Filter = 0;
  if (HAL_TIM_Encoder_Init(&htim3, &sConfig) != HAL_OK)
  {
    Error_Handler();
  }
  sMasterConfig.MasterOutputTrigger = TIM_TRGO_RESET;
  sMasterConfig.MasterSlaveMode = TIM_MASTERSLAVEMODE_DISABLE;
  if (HAL_TIMEx_MasterConfigSynchronization(&htim3, &sMasterConfig) != HAL_OK)
  {
    Error_Handler();
  }

}

static void MX_TIM4_Init(void)
{

  TIM_Encoder_InitTypeDef sConfig = {0};
  TIM_MasterConfigTypeDef sMasterConfig = {0};

  htim4.Instance = TIM4;
  htim4.Init.Prescaler = 0;
  htim4.Init.CounterMode = TIM_COUNTERMODE_UP;
  htim4.Init.Period = 65535;
  htim4.Init.ClockDivision = TIM_CLOCKDIVISION_DIV1;
  htim4.Init.AutoReloadPreload = TIM_AUTORELOAD_PRELOAD_DISABLE;
  sConfig.EncoderMode = TIM_ENCODERMODE_TI1;
  sConfig.IC1Polarity = TIM_ICPOLARITY_RISING;
  sConfig.IC1Selection = TIM_ICSELECTION_DIRECTTI;
  sConfig.IC1Prescaler = TIM_ICPSC_DIV1;
  sConfig.IC1Filter = 0;
  sConfig.IC2Polarity = TIM_ICPOLARITY_RISING;
  sConfig.IC2Selection = TIM_ICSELECTION_DIRECTTI;
  sConfig.IC2Prescaler = TIM_ICPSC_DIV1;
  sConfig.IC2Filter = 0;
  if (HAL_TIM_Encoder_Init(&htim4, &sConfig) != HAL_OK)
  {
    Error_Handler();
  }
  sMasterConfig.MasterOutputTrigger = TIM_TRGO_RESET;
  sMasterConfig.MasterSlaveMode = TIM_MASTERSLAVEMODE_DISABLE;
  if (HAL_TIMEx_MasterConfigSynchronization(&htim4, &sMasterConfig) != HAL_OK)
  {
    Error_Handler();
  }

}

static void MX_TIM5_Init(void)
{

  TIM_ClockConfigTypeDef sClockSourceConfig = {0};
  TIM_MasterConfigTypeDef sMasterConfig = {0};
  TIM_OC_InitTypeDef sConfigOC = {0};

  htim5.Instance = TIM5;
  htim5.Init.Prescaler = 0;
  htim5.Init.CounterMode = TIM_COUNTERMODE_UP;
  htim5.Init.Period = 4294967295;
  htim5.Init.ClockDivision = TIM_CLOCKDIVISION_DIV1;
  htim5.Init.AutoReloadPreload = TIM_AUTORELOAD_PRELOAD_DISABLE;
  if (HAL_TIM_Base_Init(&htim5) != HAL_OK)
  {
    Error_Handler();
  }
  sClockSourceConfig.ClockSource = TIM_CLOCKSOURCE_INTERNAL;
  if (HAL_TIM_ConfigClockSource(&htim5, &sClockSourceConfig) != HAL_OK)
  {
    Error_Handler();
  }
  if (HAL_TIM_PWM_Init(&htim5) != HAL_OK)
  {
    Error_Handler();
  }
  sMasterConfig.MasterOutputTrigger = TIM_TRGO_RESET;
  sMasterConfig.MasterSlaveMode = TIM_MASTERSLAVEMODE_DISABLE;
  if (HAL_TIMEx_MasterConfigSynchronization(&htim5, &sMasterConfig) != HAL_OK)
  {
    Error_Handler();
  }
  sConfigOC.OCMode = TIM_OCMODE_PWM1;
  sConfigOC.Pulse = 0;
  sConfigOC.OCPolarity = TIM_OCPOLARITY_HIGH;
  sConfigOC.OCFastMode = TIM_OCFAST_DISABLE;
  if (HAL_TIM_PWM_ConfigChannel(&htim5, &sConfigOC, TIM_CHANNEL_1) != HAL_OK)
  {
    Error_Handler();
  }
  HAL_TIM_MspPostInit(&htim5);

}

static void MX_TIM6_Init(void)
{

  TIM_MasterConfigTypeDef sMasterConfig = {0};

  htim6.Instance = TIM6;
  htim6.Init.Prescaler = 9599;
  htim6.Init.CounterMode = TIM_COUNTERMODE_UP;
  htim6.Init.Period = 999;
  htim6.Init.AutoReloadPreload = TIM_AUTORELOAD_PRELOAD_ENABLE;
  if (HAL_TIM_Base_Init(&htim6) != HAL_OK)
  {
    Error_Handler();
  }
  sMasterConfig.MasterOutputTrigger = TIM_TRGO_RESET;
  sMasterConfig.MasterSlaveMode = TIM_MASTERSLAVEMODE_DISABLE;
  if (HAL_TIMEx_MasterConfigSynchronization(&htim6, &sMasterConfig) != HAL_OK)
  {
    Error_Handler();
  }

}

static void MX_TIM7_Init(void)
{

  TIM_MasterConfigTypeDef sMasterConfig = {0};

  htim7.Instance = TIM7;
  htim7.Init.Prescaler = PSC_ex4;
  htim7.Init.CounterMode = TIM_COUNTERMODE_UP;
  htim7.Init.Period = Counter_ex4;
  htim7.Init.AutoReloadPreload = TIM_AUTORELOAD_PRELOAD_ENABLE;
  if (HAL_TIM_Base_Init(&htim7) != HAL_OK)
  {
    Error_Handler();
  }
  sMasterConfig.MasterOutputTrigger = TIM_TRGO_RESET;
  sMasterConfig.MasterSlaveMode = TIM_MASTERSLAVEMODE_DISABLE;
  if (HAL_TIMEx_MasterConfigSynchronization(&htim7, &sMasterConfig) != HAL_OK)
  {
    Error_Handler();
  }

}

static void MX_TIM8_Init(void)
{

  TIM_ClockConfigTypeDef sClockSourceConfig = {0};
  TIM_MasterConfigTypeDef sMasterConfig = {0};
  TIM_OC_InitTypeDef sConfigOC = {0};
  TIM_BreakDeadTimeConfigTypeDef sBreakDeadTimeConfig = {0};

  htim8.Instance = TIM8;
  htim8.Init.Prescaler = TIM8_PSC_VALUE;
  htim8.Init.CounterMode = TIM_COUNTERMODE_UP;
  htim8.Init.Period = TIM8_ARR_VALUE;
  htim8.Init.ClockDivision = TIM_CLOCKDIVISION_DIV1;
  htim8.Init.RepetitionCounter = 0;
  htim8.Init.AutoReloadPreload = TIM_AUTORELOAD_PRELOAD_DISABLE;
  if (HAL_TIM_Base_Init(&htim8) != HAL_OK)
  {
    Error_Handler();
  }
  sClockSourceConfig.ClockSource = TIM_CLOCKSOURCE_INTERNAL;
  if (HAL_TIM_ConfigClockSource(&htim8, &sClockSourceConfig) != HAL_OK)
  {
    Error_Handler();
  }
  if (HAL_TIM_PWM_Init(&htim8) != HAL_OK)
  {
    Error_Handler();
  }
  sMasterConfig.MasterOutputTrigger = TIM_TRGO_RESET;
  sMasterConfig.MasterOutputTrigger2 = TIM_TRGO2_RESET;
  sMasterConfig.MasterSlaveMode = TIM_MASTERSLAVEMODE_DISABLE;
  if (HAL_TIMEx_MasterConfigSynchronization(&htim8, &sMasterConfig) != HAL_OK)
  {
    Error_Handler();
  }
  sConfigOC.OCMode = TIM_OCMODE_PWM1;
  sConfigOC.Pulse = 0;
  sConfigOC.OCPolarity = TIM_OCPOLARITY_HIGH;
  sConfigOC.OCNPolarity = TIM_OCNPOLARITY_HIGH;
  sConfigOC.OCFastMode = TIM_OCFAST_DISABLE;
  sConfigOC.OCIdleState = TIM_OCIDLESTATE_RESET;
  sConfigOC.OCNIdleState = TIM_OCNIDLESTATE_RESET;
  if (HAL_TIM_PWM_ConfigChannel(&htim8, &sConfigOC, TIM_CHANNEL_1) != HAL_OK)
  {
    Error_Handler();
  }
  if (HAL_TIM_PWM_ConfigChannel(&htim8, &sConfigOC, TIM_CHANNEL_2) != HAL_OK)
  {
    Error_Handler();
  }
  if (HAL_TIM_PWM_ConfigChannel(&htim8, &sConfigOC, TIM_CHANNEL_3) != HAL_OK)
  {
    Error_Handler();
  }
  if (HAL_TIM_PWM_ConfigChannel(&htim8, &sConfigOC, TIM_CHANNEL_4) != HAL_OK)
  {
    Error_Handler();
  }
  sBreakDeadTimeConfig.OffStateRunMode = TIM_OSSR_DISABLE;
  sBreakDeadTimeConfig.OffStateIDLEMode = TIM_OSSI_DISABLE;
  sBreakDeadTimeConfig.LockLevel = TIM_LOCKLEVEL_OFF;
  sBreakDeadTimeConfig.DeadTime = 0;
  sBreakDeadTimeConfig.BreakState = TIM_BREAK_DISABLE;
  sBreakDeadTimeConfig.BreakPolarity = TIM_BREAKPOLARITY_HIGH;
  sBreakDeadTimeConfig.BreakFilter = 0;
  sBreakDeadTimeConfig.Break2State = TIM_BREAK2_DISABLE;
  sBreakDeadTimeConfig.Break2Polarity = TIM_BREAK2POLARITY_HIGH;
  sBreakDeadTimeConfig.Break2Filter = 0;
  sBreakDeadTimeConfig.AutomaticOutput = TIM_AUTOMATICOUTPUT_DISABLE;
  if (HAL_TIMEx_ConfigBreakDeadTime(&htim8, &sBreakDeadTimeConfig) != HAL_OK)
  {
    Error_Handler();
  }
  HAL_TIM_MspPostInit(&htim8);

}

static void MX_UART4_Init(void)
{

  huart4.Instance = UART4;
  huart4.Init.BaudRate = 9600;
  huart4.Init.WordLength = UART_WORDLENGTH_8B;
  huart4.Init.StopBits = UART_STOPBITS_1;
  huart4.Init.Parity = UART_PARITY_NONE;
  huart4.Init.Mode = UART_MODE_TX_RX;
  huart4.Init.HwFlowCtl = UART_HWCONTROL_NONE;
  huart4.Init.OverSampling = UART_OVERSAMPLING_16;
  huart4.Init.OneBitSampling = UART_ONE_BIT_SAMPLE_DISABLE;
  huart4.AdvancedInit.AdvFeatureInit = UART_ADVFEATURE_NO_INIT;
  if (HAL_UART_Init(&huart4) != HAL_OK)
  {
    Error_Handler();
  }

}

static void MX_UART5_Init(void)
{

  huart5.Instance = UART5;
  huart5.Init.BaudRate = 115200;
  huart5.Init.WordLength = UART_WORDLENGTH_8B;
  huart5.Init.StopBits = UART_STOPBITS_1;
  huart5.Init.Parity = UART_PARITY_NONE;
  huart5.Init.Mode = UART_MODE_TX_RX;
  huart5.Init.HwFlowCtl = UART_HWCONTROL_NONE;
  huart5.Init.OverSampling = UART_OVERSAMPLING_16;
  huart5.Init.OneBitSampling = UART_ONE_BIT_SAMPLE_DISABLE;
  huart5.AdvancedInit.AdvFeatureInit = UART_ADVFEATURE_NO_INIT;
  if (HAL_UART_Init(&huart5) != HAL_OK)
  {
    Error_Handler();
  }

}

static void MX_USART1_UART_Init(void)
{

  huart1.Instance = USART1;
  huart1.Init.BaudRate = 115200;
  huart1.Init.WordLength = UART_WORDLENGTH_8B;
  huart1.Init.StopBits = UART_STOPBITS_1;
  huart1.Init.Parity = UART_PARITY_NONE;
  huart1.Init.Mode = UART_MODE_TX_RX;
  huart1.Init.HwFlowCtl = UART_HWCONTROL_NONE;
  huart1.Init.OverSampling = UART_OVERSAMPLING_16;
  huart1.Init.OneBitSampling = UART_ONE_BIT_SAMPLE_DISABLE;
  huart1.AdvancedInit.AdvFeatureInit = UART_ADVFEATURE_NO_INIT;
  if (HAL_UART_Init(&huart1) != HAL_OK)
  {
    Error_Handler();
  }

}

static void MX_USART2_UART_Init(void)
{

  huart2.Instance = USART2;
  huart2.Init.BaudRate = 115200;
  huart2.Init.WordLength = UART_WORDLENGTH_8B;
  huart2.Init.StopBits = UART_STOPBITS_1;
  huart2.Init.Parity = UART_PARITY_NONE;
  huart2.Init.Mode = UART_MODE_TX_RX;
  huart2.Init.HwFlowCtl = UART_HWCONTROL_NONE;
  huart2.Init.OverSampling = UART_OVERSAMPLING_16;
  huart2.Init.OneBitSampling = UART_ONE_BIT_SAMPLE_DISABLE;
  huart2.AdvancedInit.AdvFeatureInit = UART_ADVFEATURE_NO_INIT;
  if (HAL_UART_Init(&huart2) != HAL_OK)
  {
    Error_Handler();
  }

}

static void MX_USART3_UART_Init(void)
{

  huart3.Instance = USART3;
  huart3.Init.BaudRate = 115200;
  huart3.Init.WordLength = UART_WORDLENGTH_8B;
  huart3.Init.StopBits = UART_STOPBITS_1;
  huart3.Init.Parity = UART_PARITY_NONE;
  huart3.Init.Mode = UART_MODE_TX_RX;
  huart3.Init.HwFlowCtl = UART_HWCONTROL_NONE;
  huart3.Init.OverSampling = UART_OVERSAMPLING_16;
  huart3.Init.OneBitSampling = UART_ONE_BIT_SAMPLE_DISABLE;
  huart3.AdvancedInit.AdvFeatureInit = UART_ADVFEATURE_NO_INIT;
  if (HAL_UART_Init(&huart3) != HAL_OK)
  {
    Error_Handler();
  }

}

static void MX_GPIO_Init(void)
{
  GPIO_InitTypeDef GPIO_InitStruct = {0};

  /* GPIO Ports Clock Enable */
  __HAL_RCC_GPIOE_CLK_ENABLE();
  __HAL_RCC_GPIOC_CLK_ENABLE();
  __HAL_RCC_GPIOF_CLK_ENABLE();
  __HAL_RCC_GPIOH_CLK_ENABLE();
  __HAL_RCC_GPIOA_CLK_ENABLE();
  __HAL_RCC_GPIOB_CLK_ENABLE();
  __HAL_RCC_GPIOD_CLK_ENABLE();
  __HAL_RCC_GPIOG_CLK_ENABLE();

  /*Configure GPIO pin Output Level */
  HAL_GPIO_WritePin(GPIOE, GPIO_OUT_SPI_CS_SDCARD_Pin|GPIO_OUT_SPI_CS_LCD_Pin|GPIO_PIN_5|GPIO_PIN_6, GPIO_PIN_RESET);

  /*Configure GPIO pin Output Level */
  HAL_GPIO_WritePin(GPIOB, LD1_Pin|LD3_Pin|LD2_Pin, GPIO_PIN_RESET);

  /*Configure GPIO pin Output Level */
  HAL_GPIO_WritePin(GPIOG, GPIO_PIN_6, GPIO_PIN_RESET);

  /*Configure GPIO pins : GPIO_OUT_SPI_CS_SDCARD_Pin GPIO_OUT_SPI_CS_LCD_Pin PE5 PE6 */
  GPIO_InitStruct.Pin = GPIO_OUT_SPI_CS_SDCARD_Pin|GPIO_OUT_SPI_CS_LCD_Pin|GPIO_PIN_5|GPIO_PIN_6;
  GPIO_InitStruct.Mode = GPIO_MODE_OUTPUT_PP;
  GPIO_InitStruct.Pull = GPIO_NOPULL;
  GPIO_InitStruct.Speed = GPIO_SPEED_FREQ_LOW;
  HAL_GPIO_Init(GPIOE, &GPIO_InitStruct);

  /*Configure GPIO pins : GPIO_EXTI3_IMU_IRQ_Pin GPIO_EXTI8_USER_BUT1_IRQ_Pin GPIO_EXTI9_USER_BUT2_IRQ_Pin GPIO_EXTI10_BUMP1_IRQ_Pin
                           GPIO_EXTI11_BUMP2_IRQ_Pin GPIO_EXTI12_BUMP3_IRQ_Pin GPIO_EXTI13_BUMP4_IRQ_Pin */
  GPIO_InitStruct.Pin = GPIO_EXTI3_IMU_IRQ_Pin|GPIO_EXTI8_USER_BUT1_IRQ_Pin|GPIO_EXTI9_USER_BUT2_IRQ_Pin|GPIO_EXTI10_BUMP1_IRQ_Pin
                          |GPIO_EXTI11_BUMP2_IRQ_Pin|GPIO_EXTI12_BUMP3_IRQ_Pin|GPIO_EXTI13_BUMP4_IRQ_Pin;
  GPIO_InitStruct.Mode = GPIO_MODE_IT_RISING;
  GPIO_InitStruct.Pull = GPIO_NOPULL;
  HAL_GPIO_Init(GPIOF, &GPIO_InitStruct);

  /*Configure GPIO pin : PF4 */
  GPIO_InitStruct.Pin = GPIO_PIN_4;
  GPIO_InitStruct.Mode = GPIO_MODE_IT_FALLING;
  GPIO_InitStruct.Pull = GPIO_NOPULL;
  HAL_GPIO_Init(GPIOF, &GPIO_InitStruct);

  /*Configure GPIO pins : RMII_MDC_Pin RMII_RXD0_Pin RMII_RXD1_Pin */
  GPIO_InitStruct.Pin = RMII_MDC_Pin|RMII_RXD0_Pin|RMII_RXD1_Pin;
  GPIO_InitStruct.Mode = GPIO_MODE_AF_PP;
  GPIO_InitStruct.Pull = GPIO_NOPULL;
  GPIO_InitStruct.Speed = GPIO_SPEED_FREQ_VERY_HIGH;
  GPIO_InitStruct.Alternate = GPIO_AF11_ETH;
  HAL_GPIO_Init(GPIOC, &GPIO_InitStruct);

  /*Configure GPIO pins : RMII_REF_CLK_Pin RMII_MDIO_Pin RMII_CRS_DV_Pin */
  GPIO_InitStruct.Pin = RMII_REF_CLK_Pin|RMII_MDIO_Pin|RMII_CRS_DV_Pin;
  GPIO_InitStruct.Mode = GPIO_MODE_AF_PP;
  GPIO_InitStruct.Pull = GPIO_NOPULL;
  GPIO_InitStruct.Speed = GPIO_SPEED_FREQ_VERY_HIGH;
  GPIO_InitStruct.Alternate = GPIO_AF11_ETH;
  HAL_GPIO_Init(GPIOA, &GPIO_InitStruct);

  /*Configure GPIO pins : LD1_Pin LD3_Pin LD2_Pin */
  GPIO_InitStruct.Pin = LD1_Pin|LD3_Pin|LD2_Pin;
  GPIO_InitStruct.Mode = GPIO_MODE_OUTPUT_PP;
  GPIO_InitStruct.Pull = GPIO_NOPULL;
  GPIO_InitStruct.Speed = GPIO_SPEED_FREQ_LOW;
  HAL_GPIO_Init(GPIOB, &GPIO_InitStruct);

  /*Configure GPIO pin : RMII_TXD1_Pin */
  GPIO_InitStruct.Pin = RMII_TXD1_Pin;
  GPIO_InitStruct.Mode = GPIO_MODE_AF_PP;
  GPIO_InitStruct.Pull = GPIO_NOPULL;
  GPIO_InitStruct.Speed = GPIO_SPEED_FREQ_VERY_HIGH;
  GPIO_InitStruct.Alternate = GPIO_AF11_ETH;
  HAL_GPIO_Init(RMII_TXD1_GPIO_Port, &GPIO_InitStruct);

  /*Configure GPIO pin : PG6 */
  GPIO_InitStruct.Pin = GPIO_PIN_6;
  GPIO_InitStruct.Mode = GPIO_MODE_OUTPUT_PP;
  GPIO_InitStruct.Pull = GPIO_NOPULL;
  GPIO_InitStruct.Speed = GPIO_SPEED_FREQ_LOW;
  HAL_GPIO_Init(GPIOG, &GPIO_InitStruct);

  /*Configure GPIO pin : USB_OverCurrent_Pin */
  GPIO_InitStruct.Pin = USB_OverCurrent_Pin;
  GPIO_InitStruct.Mode = GPIO_MODE_INPUT;
  GPIO_InitStruct.Pull = GPIO_NOPULL;
  HAL_GPIO_Init(USB_OverCurrent_GPIO_Port, &GPIO_InitStruct);

  /*Configure GPIO pins : USB_SOF_Pin USB_ID_Pin USB_DM_Pin USB_DP_Pin */
  GPIO_InitStruct.Pin = USB_SOF_Pin|USB_ID_Pin|USB_DM_Pin|USB_DP_Pin;
  GPIO_InitStruct.Mode = GPIO_MODE_AF_PP;
  GPIO_InitStruct.Pull = GPIO_NOPULL;
  GPIO_InitStruct.Speed = GPIO_SPEED_FREQ_VERY_HIGH;
  GPIO_InitStruct.Alternate = GPIO_AF10_OTG_FS;
  HAL_GPIO_Init(GPIOA, &GPIO_InitStruct);

  /*Configure GPIO pin : USB_VBUS_Pin */
  GPIO_InitStruct.Pin = USB_VBUS_Pin;
  GPIO_InitStruct.Mode = GPIO_MODE_INPUT;
  GPIO_InitStruct.Pull = GPIO_NOPULL;
  HAL_GPIO_Init(USB_VBUS_GPIO_Port, &GPIO_InitStruct);

  /*Configure GPIO pins : RMII_TX_EN_Pin RMII_TXD0_Pin */
  GPIO_InitStruct.Pin = RMII_TX_EN_Pin|RMII_TXD0_Pin;
  GPIO_InitStruct.Mode = GPIO_MODE_AF_PP;
  GPIO_InitStruct.Pull = GPIO_NOPULL;
  GPIO_InitStruct.Speed = GPIO_SPEED_FREQ_VERY_HIGH;
  GPIO_InitStruct.Alternate = GPIO_AF11_ETH;
  HAL_GPIO_Init(GPIOG, &GPIO_InitStruct);

  /* EXTI interrupt init*/
  HAL_NVIC_SetPriority(EXTI4_IRQn, 1, 0);
  HAL_NVIC_EnableIRQ(EXTI4_IRQn);

  HAL_NVIC_SetPriority(EXTI9_5_IRQn, 0, 0);
  HAL_NVIC_EnableIRQ(EXTI9_5_IRQn);

  HAL_NVIC_SetPriority(EXTI15_10_IRQn, 0, 0);
  HAL_NVIC_EnableIRQ(EXTI15_10_IRQn);

}

void Error_Handler(void)
{
  __disable_irq();
  while (1)
  {
  }
}
